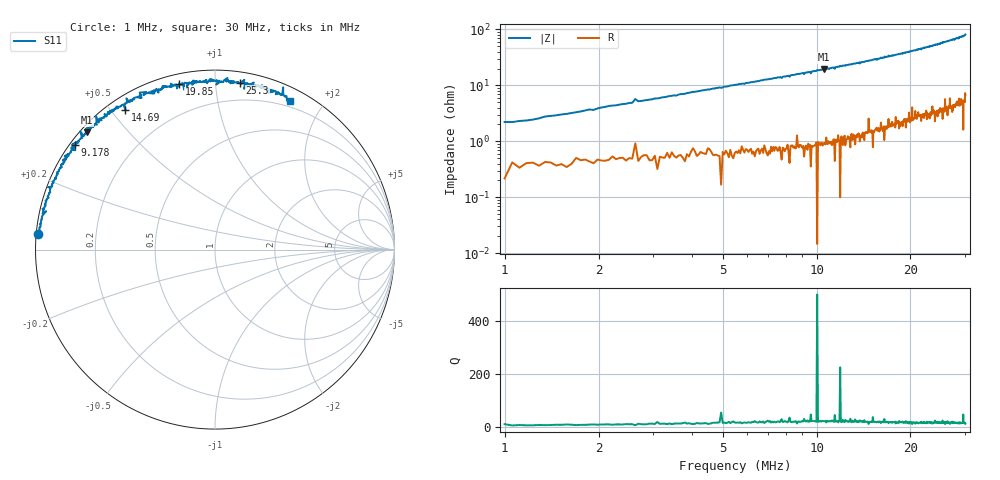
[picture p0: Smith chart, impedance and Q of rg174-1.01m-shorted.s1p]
! Touchstone file generated by AntScopeKit
# MHz S RI R 50
! Format: Frequency S-real S-imaginary (normalized to 50 Ohm)
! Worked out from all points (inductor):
!   501 points, 1 MHz to 30 MHz, reference 50 ohm
!   read as one part to ground: L = 312 nH near 1.116 MHz
!   highest Q = 21.7 at 10.57 MHz (marker M1), where L = 292 nH
!   S11 on the Smith chart (normalised r, x): 1 MHz: 0.00, +0.04; 9.178 MHz: 0.01, +0.33; 14.69 MHz: 0.05, +0.55; 19.85 MHz: 0.05, +0.80; 25.3 MHz: 0.07, +1.16; 30 MHz: 0.14, +1.62
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1  -0.9875 0.0873
3.03  -0.9524 0.2243
4.654  -0.9196 0.333
6.858  -0.8561 0.4626
8.25  -0.8088 0.5365
8.772  -0.7926 0.5628
9.178  -0.7789 0.5851
10.164  -0.7314 0.6325
10.57  -0.7145 0.6532
11.904  -0.6625 0.7446
13.876  -0.5584 0.7813
14.688  -0.4987 0.7783
15.268  -0.4776 0.8294
15.5  -0.4641 0.8314
16.428  -0.4108 0.8544
19.154  -0.243 0.9107
19.85  -0.2003 0.9218
22.75  -0.0195 0.9429
23.62  0.0345 0.9383
23.968  0.07 0.9559
24.896  0.085 0.9266
25.302  0.1384 0.9281
26.404  0.2053 0.9211
28.144  0.2947 0.8843
28.492  0.3181 0.8882
28.84  0.3456 0.872
29.594  0.38 0.862
30  0.4201 0.8272
